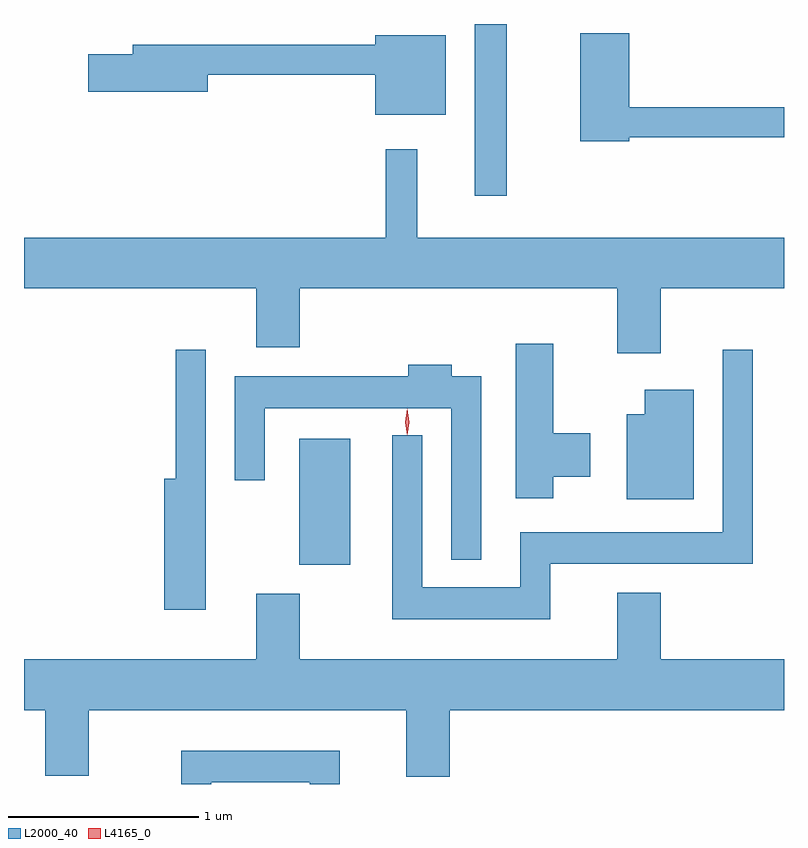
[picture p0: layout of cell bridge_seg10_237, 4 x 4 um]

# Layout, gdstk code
import gdstk
lib = gdstk.Library(unit=1e-6, precision=1e-09)
def R(c, l, rs):  # rectangles x0, y0, x1, y1
    for r in rs: c.add(gdstk.rectangle(r[:2], r[2:], *l))
def P(c, l, *ps):  # polygons
    for p in ps: c.add(gdstk.Polygon(p, *l))
L2000_40 = (2000, 40)
L4165_0 = (4165, 0)

bridge_seg10_237 = lib.new_cell('bridge_seg10_237')
R(bridge_seg10_237, L2000_40, [(1797.756,2096.921,1798.024,2097.584), (1798.681,2098.863,1798.849,2099.768)])
P(bridge_seg10_237, L2000_40, [(1799.494,2099.171),(1800.308,2099.171),(1800.308,2099.329),(1799.494,2099.329),(1799.494,2099.719),(1799.236,2099.719),(1799.236,2099.151),(1799.494,2099.151)],
  [(1798.529,2099.709),(1798.156,2099.709),(1798.156,2099.659),(1796.881,2099.659),(1796.881,2099.609),(1796.646,2099.609),(1796.646,2099.411),(1797.274,2099.411),(1797.274,2099.501),(1798.156,2099.501),(1798.156,2099.291),(1798.529,2099.291)],
  [(1799.659,2098.376),(1800.308,2098.376),(1800.308,2098.644),(1798.379,2098.644),(1798.379,2099.108),(1798.211,2099.108),(1798.211,2098.644),(1796.308,2098.644),(1796.308,2098.376),(1797.531,2098.376),(1797.531,2098.066),(1797.759,2098.066),(1797.759,2098.376),(1799.431,2098.376),(1799.431,2098.036),(1799.659,2098.036)],
  [(1799.094,2097.386),(1799.289,2097.386),(1799.289,2097.614),(1799.094,2097.614),(1799.094,2098.084),(1798.896,2098.084),(1798.896,2097.271),(1799.094,2097.271)],
  [(1797.264,2098.053),(1797.106,2098.053),(1797.106,2097.374),(1797.046,2097.374),(1797.046,2096.686),(1797.264,2096.686)],
  [(1799.079,2096.926),(1800.144,2096.926),(1800.144,2098.053),(1799.986,2098.053),(1799.986,2097.094),(1798.921,2097.094),(1798.921,2096.804),(1798.404,2096.804),(1798.404,2097.603),(1798.246,2097.603),(1798.246,2096.636),(1799.079,2096.636)],
  [(1798.714,2097.914),(1798.559,2097.914),(1798.559,2097.974),(1798.331,2097.974),(1798.331,2097.914),(1797.416,2097.914),(1797.416,2097.368),(1797.574,2097.368),(1797.574,2097.746),(1798.556,2097.746),(1798.556,2096.948),(1798.714,2096.948)],
  [(1799.834,2097.844),(1799.576,2097.844),(1799.576,2097.714),(1799.481,2097.714),(1799.481,2097.266),(1799.834,2097.266)],
  [(1798.549,2096.156),(1800.308,2096.156),(1800.308,2096.424),(1799.659,2096.424),(1799.659,2096.774),(1799.431,2096.774),(1799.431,2096.424),(1797.759,2096.424),(1797.759,2096.769),(1797.531,2096.769),(1797.531,2096.424),(1796.308,2096.424),(1796.308,2096.156),(1796.421,2096.156),(1796.421,2095.811),(1796.649,2095.811),(1796.649,2096.156),(1798.321,2096.156),(1798.321,2095.806),(1798.549,2095.806)],
  [(1797.294,2095.776),(1797.811,2095.776),(1797.811,2095.768),(1797.969,2095.768),(1797.969,2095.944),(1797.136,2095.944),(1797.136,2095.768),(1797.294,2095.768)])
P(bridge_seg10_237, L4165_0, [(1798.324,2097.604),(1798.315,2097.673),(1798.324,2097.742),(1798.325,2097.743),(1798.326,2097.742),(1798.335,2097.673),(1798.326,2097.604),(1798.325,2097.604)])

lib.write_gds('bridge_seg10_237.gds')
